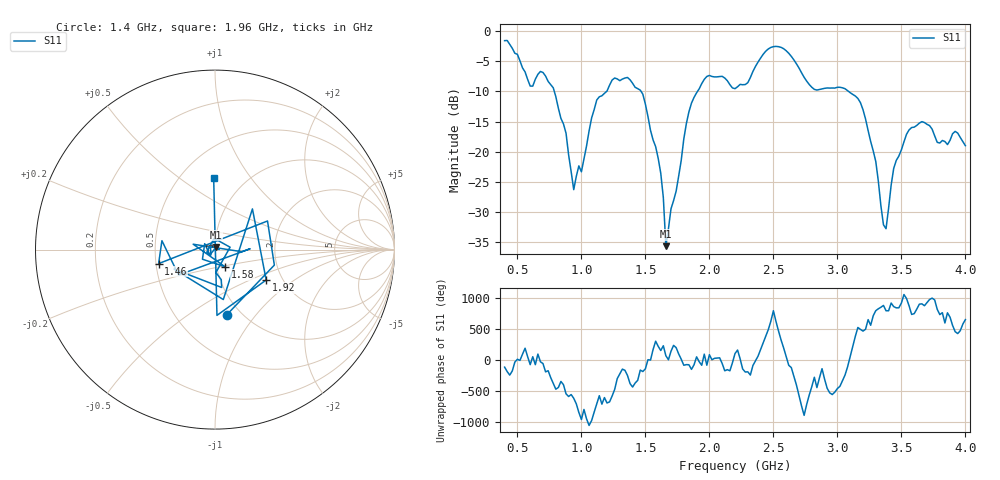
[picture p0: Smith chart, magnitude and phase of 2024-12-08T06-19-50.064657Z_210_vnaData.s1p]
!Created with skrf (http://scikit-rf.org).
# Hz S RI R 50.0
!freq ReS11 ImS11
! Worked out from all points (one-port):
!   181 points, 400 MHz to 4 GHz, reference 50 ohm
!   lowest |S11| = -35.6 dB at 1.66 GHz (marker M1), VSWR 1.03, Z = 50.7 + j1.51 ohm
!   |S11| at or under -10 dB: 788.2 MHz to 1.197 GHz (409 MHz wide, 41.2 % of centre); 1.466 GHz to 1.907 GHz (441 MHz wide, 26.1 % of centre); 3.087 GHz to end of sweep
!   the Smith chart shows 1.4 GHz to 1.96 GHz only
!   S11 on the Smith chart (normalised r, x): 1.4 GHz: 0.86, -0.72; 1.46 GHz: 0.52, -0.09; 1.58 GHz: 1.10, -0.21; 1.92 GHz: 1.65, -0.63; 1.96 GHz: 0.72, +0.68
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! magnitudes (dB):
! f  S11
! 400 MHz  -1.6
! 600 MHz  -9.1
! 720 MHz  -7.5
! 860 MHz  -15.4
! 940 MHz  -26.3
! 1.12 GHz  -11.4
! 1.3 GHz  -8.2
! 1.4 GHz  -8.7
! 1.46 GHz  -9.8
! 1.58 GHz  -19.1
! 1.64 GHz  -27.6
! 1.66 GHz  -35.6
! 1.76 GHz  -24.0
! 1.84 GHz  -13.4
! 1.92 GHz  -9.6
! 1.96 GHz  -8.0
! 2.2 GHz  -9.5
! 2.48 GHz  -2.7
! 2.66 GHz  -4.8
! 2.82 GHz  -9.7
! 3.1 GHz  -10.2
! 3.22 GHz  -14.6
! 3.3 GHz  -21.6
! 3.36 GHz  -32.1
! 3.38 GHz  -32.7
! 3.44 GHz  -22.7
! 3.56 GHz  -16.4
! 4 GHz  -19.0
